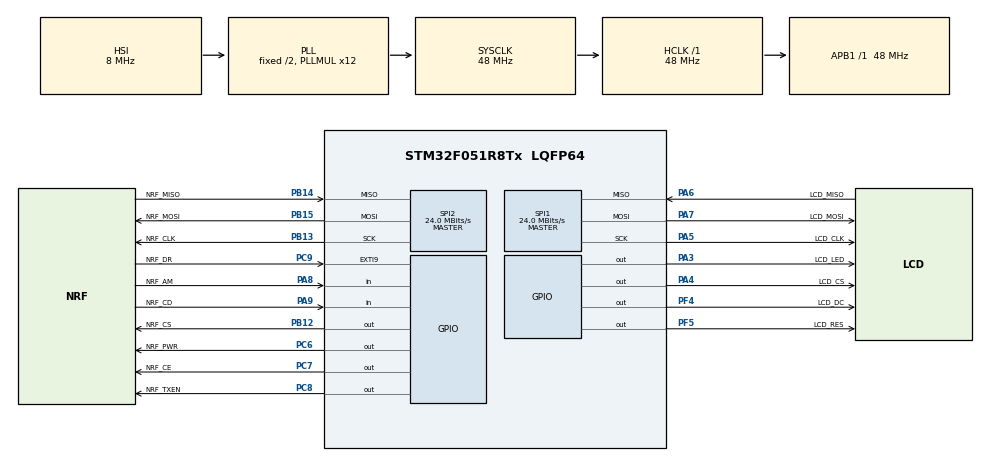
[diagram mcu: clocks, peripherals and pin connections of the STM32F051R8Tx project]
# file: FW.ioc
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Mcu.Family=STM32F0
Mcu.Name=STM32F051R8Tx
Mcu.Package=LQFP64
PA13.Mode=Serial_Wire
PA13.Signal=SYS_SWDIO
PA14.Mode=Serial_Wire
PA14.Signal=SYS_SWCLK
PA3.GPIO_Label=LCD_LED
PA3.Signal=GPIO_Output
PA4.GPIO_Label=LCD_CS
PA4.Signal=GPIO_Output
PA5.GPIO_Label=LCD_CLK
PA5.Mode=Full_Duplex_Master
PA5.Signal=SPI1_SCK
PA6.GPIO_Label=LCD_MISO
PA6.Mode=Full_Duplex_Master
PA6.Signal=SPI1_MISO
PA7.GPIO_Label=LCD_MOSI
PA7.Mode=Full_Duplex_Master
PA7.Signal=SPI1_MOSI
PA8.GPIO_Label=NRF_AM
PA8.Signal=GPIO_Input
PA9.GPIO_Label=NRF_CD
PA9.Signal=GPIO_Input
PB12.GPIO_Label=NRF_CS
PB12.Signal=GPIO_Output
PB13.GPIO_Label=NRF_CLK
PB13.Mode=Full_Duplex_Master
PB13.Signal=SPI2_SCK
PB14.GPIO_Label=NRF_MISO
PB14.Mode=Full_Duplex_Master
PB14.Signal=SPI2_MISO
PB15.GPIO_Label=NRF_MOSI
PB15.Mode=Full_Duplex_Master
PB15.Signal=SPI2_MOSI
PC6.GPIO_Label=NRF_PWR
PC6.Signal=GPIO_Output
PC7.GPIO_Label=NRF_CE
PC7.Signal=GPIO_Output
PC8.GPIO_Label=NRF_TXEN
PC8.Signal=GPIO_Output
PC9.GPIO_Label=NRF_DR
PC9.Signal=GPXTI9
PF0-OSC_IN.Mode=HSE-External-Oscillator
PF0-OSC_IN.Signal=RCC_OSC_IN
PF1-OSC_OUT.Mode=HSE-External-Oscillator
PF1-OSC_OUT.Signal=RCC_OSC_OUT
PF4.GPIO_Label=LCD_DC
PF4.Signal=GPIO_Output
PF5.GPIO_Label=LCD_RES
PF5.Signal=GPIO_Output
ProjectManager.HeapSize=0x200
ProjectManager.StackSize=0x400
ProjectManager.TargetToolchain=Makefile
RCC.AHBFreq_Value=48000000
RCC.APB1Freq_Value=48000000
RCC.APB1TimFreq_Value=48000000
RCC.HCLKFreq_Value=48000000
RCC.PLLMUL=RCC_PLL_MUL12
RCC.RTCClockSelection=RCC_RTCCLKSOURCE_HSE_DIV32
RCC.SYSCLKFreq_VALUE=48000000
RCC.SYSCLKSource=RCC_SYSCLKSOURCE_PLLCLK
SPI1.BaudRatePrescaler=SPI_BAUDRATEPRESCALER_2
SPI1.CalculateBaudRate=24.0 MBits/s
SPI1.Direction=SPI_DIRECTION_2LINES
SPI1.Mode=SPI_MODE_MASTER
SPI1.VirtualType=VM_MASTER
SPI2.BaudRatePrescaler=SPI_BAUDRATEPRESCALER_2
SPI2.CalculateBaudRate=24.0 MBits/s
SPI2.Direction=SPI_DIRECTION_2LINES
SPI2.Mode=SPI_MODE_MASTER
SPI2.VirtualType=VM_MASTER
VP_RTC_VS_RTC_Activate.Mode=RTC_Enabled
VP_RTC_VS_RTC_Calendar.Mode=RTC_Calendar
board=custom

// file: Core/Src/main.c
/* USER CODE BEGIN Header */
/**
  ******************************************************************************
  * @file           : main.c
  * @brief          : Main program body
  ******************************************************************************
  * @attention
  *
  * <h2><center>&copy; Copyright (c) 2020 STMicroelectronics.
  * All rights reserved.</center></h2>
  *
  * This software component is licensed by ST under BSD 3-Clause license,
  * the "License"; You may not use this file except in compliance with the
  * License. You may obtain a copy of the License at:
  *                        opensource.org/licenses/BSD-3-Clause
  *
  ******************************************************************************
  */
/* USER CODE END Header */
#include "main.h"
#include "rtc.h"
#include "spi.h"
#include "gpio.h"
#include <math.h>

/* USER CODE BEGIN Includes */
#include "nrf905.h"
#include "ILI9341_STM32_Driver.h"
#include "ILI9341_GFX.h"
/* USER CODE END Includes */

/* USER CODE BEGIN PTD */
Packet_send P;
/* USER CODE END PTD */

/* USER CODE BEGIN PV */
uint16_t i =0 ;
/* USER CODE END PV */

void SystemClock_Config(void);

int main(void)
{
  /* USER CODE BEGIN 1 */
  uint8_t buf[15];
  long max=-30,min=30,last=0;
  /* USER CODE END 1 */

  /* MCU Configuration--------------------------------------------------------*/

  /* Reset of all peripherals, Initializes the Flash interface and the Systick. */
  HAL_Init();

  /* Configure the system clock */
  SystemClock_Config();

  /* Initialize all configured peripherals */
  MX_GPIO_Init();
  MX_RTC_Init();
  MX_SPI1_Init();
  MX_SPI2_Init();
  HAL_GPIO_WritePin(LCD_LED_GPIO_Port, LCD_LED_Pin, GPIO_PIN_SET);
  ILI9341_Init();
  ILI9341_Fill_Screen(BLACK);
  ILI9341_Set_Rotation(SCREEN_HORIZONTAL_2);
  //ILI9341_Draw_Text("Start",0,0,BLACK,4,WHITE);
  //HAL_Delay(10000);

  NRF905_POWER_ON();
HAL_Delay(2);
NRF905_Config_t.AUTO_RETRAN = AUTO_RET_DISABLE ;
NRF905_Config_t.CH_NO_1 = 50;
NRF905_Config_t.CH_NO_2 = 0;
NRF905_Config_t.CRC_EN = CRC_CHECK_ENABLE;
NRF905_Config_t.CRC_MODE = CRC_MODE_16bit;
NRF905_Config_t.HFREQ_PLL = FREQ_433MHz ;
NRF905_Config_t.PA_PWR = PWR_10dBm;
NRF905_Config_t.RX_ADDRESS = 0xE7E7E7E6;
NRF905_Config_t.RX_AFW = TX_ADDR_WIDTH_4Byte ;
NRF905_Config_t.RX_PW =  sizeof(P);
NRF905_Config_t.RX_RED_PWR = RED_PWR_DISABLE;
NRF905_Config_t.TX_AFW = TX_ADDR_WIDTH_4Byte;
NRF905_Config_t.TX_PW = sizeof(P);
NRF905_Config_t.UP_CLK_EN = OUT_CLOCK_DISABLE;
NRF905_Config_t.UP_CLK_FREQ =  OUT_CLOCK_FREQ_500kHz;
NRF905_Config_t.XOF = CRYSTAL_OSC_FREQ_16MHz;

if (NRF905_INIT(&NRF905_Config_t ))
  {
    HAL_GPIO_WritePin(NRF905_PWR_GPIO_Port, NRF905_PWR_Pin, GPIO_PIN_SET);
    HAL_Delay(2);
    HAL_GPIO_WritePin(NRF905_TXEN_GPIO_Port, NRF905_TXEN_Pin, GPIO_PIN_RESET);
    HAL_GPIO_WritePin(NRF905_CE_GPIO_Port, NRF905_CE_Pin, GPIO_PIN_SET);
  } else {
          ILI9341_Draw_Text("Module NRF905 not found!!!! ",0,0,BLACK,29,WHITE);
          HAL_Delay(5000);
          while (1)
          {
           HAL_Delay(500);
           ILI9341_Fill_Screen(RED);
           HAL_Delay(500);
           ILI9341_Fill_Screen(WHITE);
          }
         }

  /* Infinite loop */
  /* USER CODE BEGIN WHILE */

  while (1)
    {
      if (HAL_GPIO_ReadPin(NRF_DR_GPIO_Port, NRF_DR_Pin) == 1)
        {
          ReadReciveData(&P, sizeof(P));
          if (P.temp < 0) {sprintf(buf, "Temoerature = %3d.%2d C",P.temp/100, ((P.temp%100)*-1)  );}
          if (P.temp >=0) {sprintf(buf, "Temoerature = %3d.%2d C",P.temp/100, P.temp%100);}
          if(P.temp>last) {max = P.temp; last = P.temp;}
          if(P.temp<last) {min = P.temp; last = P.temp;}
          ILI9341_Draw_Text(buf,0,20,WHITE,2,BLACK);
          sprintf(buf, "Pressue = %4d hPa ",P.press/100);
          ILI9341_Draw_Text(buf,0,40,WHITE,2,BLACK);
         //sprintf(buf, "humidity = %3d %%RH ",P.humm/1024);
         //ILI9341_Draw_Text(buf,0,60,WHITE,2,BLACK);
         sprintf(buf,"Max temp = %3d",max/100);
         ILI9341_Draw_Text(buf,0,170,WHITE,2,BLACK);
         sprintf(buf,"Min temp = %3d",min/100);
         ILI9341_Draw_Text(buf,0,190,WHITE,2,BLACK);
          sprintf(buf, "Vbat = %1d.%3d",P.vbat/1000,P.vbat%1000  );
          ILI9341_Draw_Text(buf,0,220,WHITE,2,BLACK);

        }

    /* USER CODE END WHILE */
    }
}

void SystemClock_Config(void)
{
  RCC_OscInitTypeDef RCC_OscInitStruct = {0};
  RCC_ClkInitTypeDef RCC_ClkInitStruct = {0};
  RCC_PeriphCLKInitTypeDef PeriphClkInit = {0};

  /** Initializes the RCC Oscillators according to the specified parameters
  * in the RCC_OscInitTypeDef structure.
  */
  RCC_OscInitStruct.OscillatorType = RCC_OSCILLATORTYPE_HSI|RCC_OSCILLATORTYPE_HSE;
  RCC_OscInitStruct.HSEState = RCC_HSE_ON;
  RCC_OscInitStruct.HSIState = RCC_HSI_ON;
  RCC_OscInitStruct.HSICalibrationValue = RCC_HSICALIBRATION_DEFAULT;
  RCC_OscInitStruct.PLL.PLLState = RCC_PLL_ON;
  RCC_OscInitStruct.PLL.PLLSource = RCC_PLLSOURCE_HSI;
  RCC_OscInitStruct.PLL.PLLMUL = RCC_PLL_MUL12;
  RCC_OscInitStruct.PLL.PREDIV = RCC_PREDIV_DIV1;
  if (HAL_RCC_OscConfig(&RCC_OscInitStruct) != HAL_OK)
  {
    Error_Handler();
  }
  /** Initializes the CPU, AHB and APB buses clocks
  */
  RCC_ClkInitStruct.ClockType = RCC_CLOCKTYPE_HCLK|RCC_CLOCKTYPE_SYSCLK
                              |RCC_CLOCKTYPE_PCLK1;
  RCC_ClkInitStruct.SYSCLKSource = RCC_SYSCLKSOURCE_PLLCLK;
  RCC_ClkInitStruct.AHBCLKDivider = RCC_SYSCLK_DIV1;
  RCC_ClkInitStruct.APB1CLKDivider = RCC_HCLK_DIV1;

  if (HAL_RCC_ClockConfig(&RCC_ClkInitStruct, FLASH_LATENCY_1) != HAL_OK)
  {
    Error_Handler();
  }
  PeriphClkInit.PeriphClockSelection = RCC_PERIPHCLK_RTC;
  PeriphClkInit.RTCClockSelection = RCC_RTCCLKSOURCE_HSE_DIV32;
  if (HAL_RCCEx_PeriphCLKConfig(&PeriphClkInit) != HAL_OK)
  {
    Error_Handler();
  }
}

void Error_Handler(void)
{
}

/************************ (C) COPYRIGHT STMicroelectronics *****END OF FILE****/
